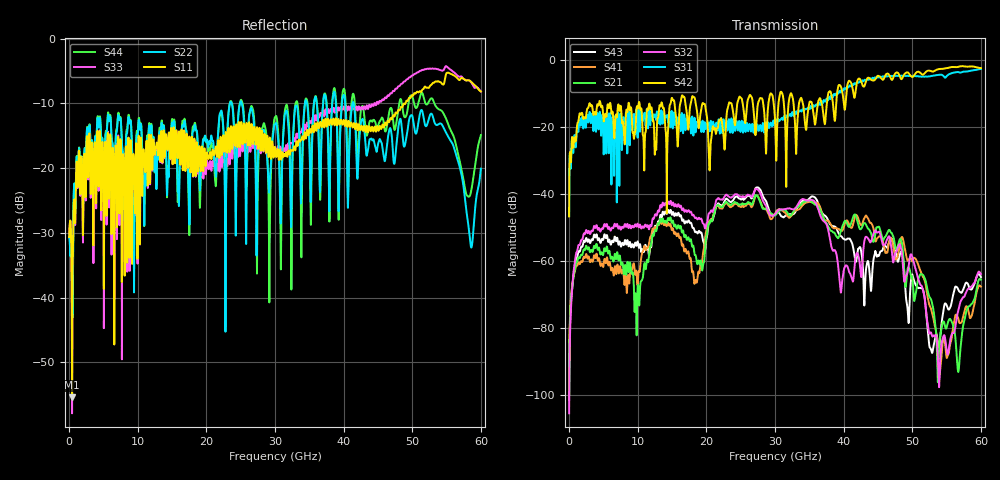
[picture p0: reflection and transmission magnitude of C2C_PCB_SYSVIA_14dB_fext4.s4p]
!$Gore$
!C2C PCB Topology at Nominal
!Tuned Ballou BGA and Tuned Mayfield BOR
!Created with Channel Assembly Tool v1.0.4
# Hz S RI R 50
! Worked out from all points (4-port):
!   6000 points, 10 MHz to 60 GHz, reference 50 ohm
!   strongest paths, dB at 10 MHz, 15.01 GHz, 30.01 GHz, 45.01 GHz, 60 GHz:
!     S42: -46.7, -11.4, -18.1, -4.7, -2.5
!     S31: -46.6, -16.2, -19.0, -5.1, -2.8
!     S32: -105.4, -43.3, -46.1, -51.4, -63.9
!     S21: -99.7, -48.5, -46.4, -49.9, -65.5
!     S41: -98.2, -50.6, -45.9, -53.0, -67.6
!     S43: -101.3, -46.2, -46.1, -58.2, -64.8
!   lowest |S11| = -55.4 dB at 440 MHz (marker M1), VSWR 1.00, Z = 50.2 - j0.0188 ohm
!   |S11| at or under -10 dB: start of sweep to 49 GHz
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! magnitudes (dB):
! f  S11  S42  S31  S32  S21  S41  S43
! 10 MHz  -30.6  -46.7  -46.6  -105.4  -99.7  -98.2  -101.3
! 440 MHz  -55.4  -23.0  -23.1  -68.6  -68.2  -67.6  -68.5
! 5.82 GHz  -24.7  -14.4  -26.8  -49.9  -57.0  -60.6  -53.8
! 9.75 GHz  -16.8  -17.5  -16.2  -49.6  -71.5  -62.9  -55.2
! 27.42 GHz  -13.9  -14.6  -19.3  -38.6  -40.6  -40.5  -38.0
! 52.61 GHz  -7.3  -3.3  -4.9  -81.4  -71.0  -73.6  -85.9
! 60 GHz  -8.2  -2.5  -2.8  -63.9  -65.5  -67.6  -64.8
